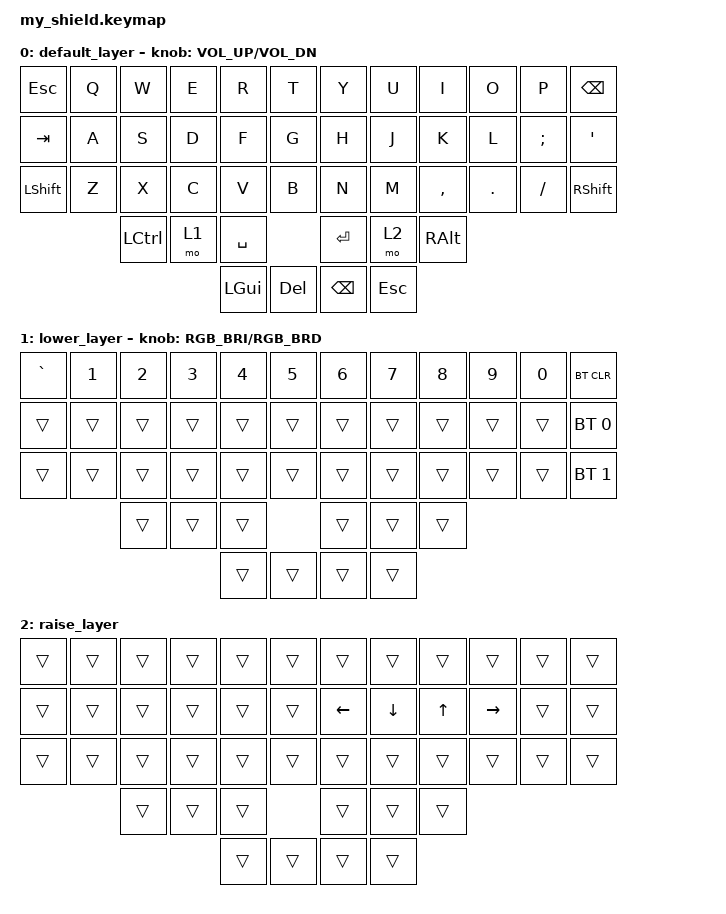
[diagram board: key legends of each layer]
/* src-zmk/boards/shields/my_shield/my_shield.keymap */

#include <behaviors.dtsi>
#include <dt-bindings/zmk/keys.h>
#include <dt-bindings/zmk/bt.h>
#include <dt-bindings/zmk/rgb.h>

/ {
    keymap {
        compatible = "zmk,keymap";

        // LIVELLO 0: Layout Base (QWERTY)
        default_layer {
            // Le righe sono visualizzate come se la tastiera fosse unita
            bindings = <
    &kp ESC   &kp Q &kp W &kp E &kp R &kp T       &kp Y &kp U &kp I     &kp O   &kp P    &kp BSPC
    &kp TAB   &kp A &kp S &kp D &kp F &kp G       &kp H &kp J &kp K     &kp L   &kp SEMI &kp SQT
    &kp LSHFT &kp Z &kp X &kp C &kp V &kp B       &kp N &kp M &kp COMMA &kp DOT &kp FSLH &kp RSHFT
                     &kp LCTRL &mo 1 &kp SPACE    &kp RET &mo 2 &kp RALT
                               &kp LGUI &kp DEL   &kp BSPC &kp ESC
            >;

            // Sensore: l'Encoder rotativo sinistro alza/abbassa il volume
            sensor-bindings = <&inc_dec_kp C_VOL_UP C_VOL_DN>;
        };

        // LIVELLO 1: Numeri, Simboli e Controlli Hardware (attivato tenendo premuto "mo 1")
        lower_layer {
            bindings = <
    &kp GRAVE &kp N1 &kp N2 &kp N3 &kp N4 &kp N5      &kp N6 &kp N7 &kp N8 &kp N9 &kp N0 &bt BT_CLR
    &trans    &trans &trans &trans &trans &trans      &trans &trans &trans &trans &trans &bt BT_SEL 0
    &trans    &trans &trans &trans &trans &trans      &trans &trans &trans &trans &trans &bt BT_SEL 1
                     &trans &trans &trans             &trans &trans &trans
                            &trans &trans             &trans &trans
            >;
            
            // Sul livello 1, il potenziometro cambia la luminosità dei LED RGB
            sensor-bindings = <&inc_dec_kp RGB_BRI RGB_BRD>;
        };

        // LIVELLO 2: (Aggiungi le frecce direzionali, F1-F12, ecc.)
        raise_layer {
            bindings = <
    &trans &trans &trans &trans &trans &trans      &trans &trans &trans &trans &trans &trans
    &trans &trans &trans &trans &trans &trans      &kp LEFT &kp DOWN &kp UP &kp RIGHT &trans &trans
    &trans &trans &trans &trans &trans &trans      &trans &trans &trans &trans &trans &trans
                  &trans &trans &trans             &trans &trans &trans
                         &trans &trans             &trans &trans
            >;
        };
    };
};
